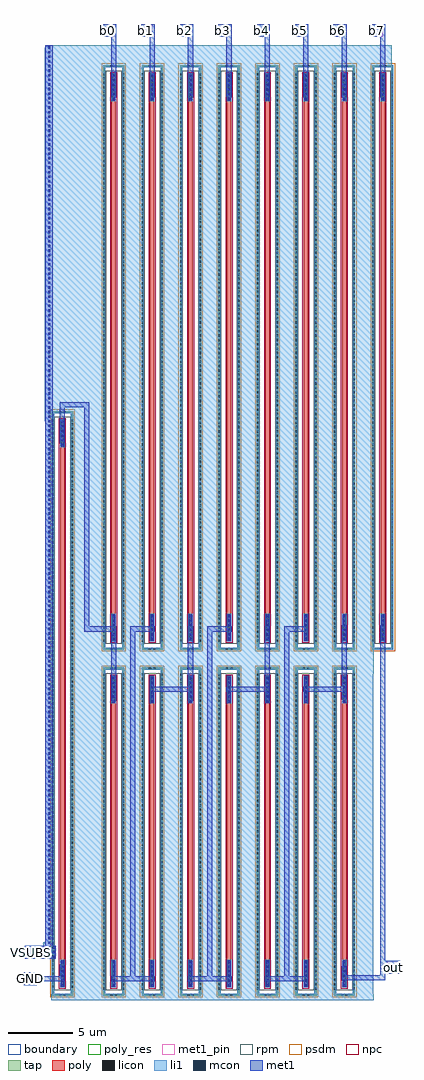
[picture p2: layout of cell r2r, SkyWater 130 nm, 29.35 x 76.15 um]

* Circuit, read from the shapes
.subckt r2r GND VSUBS b0 b1 b2 b3 b4 b5 b6 b7 out
XR1 n1 GND VSUBS sky130_fd_pr__res_high_po w=0.35 l=40.04
XR2 n1 n2 VSUBS sky130_fd_pr__res_high_po w=0.35 l=20.04
XR3 b0 n1 VSUBS sky130_fd_pr__res_high_po w=0.35 l=40.04
XR4 n3 n2 VSUBS sky130_fd_pr__res_high_po w=0.35 l=20.04
XR5 b1 n2 VSUBS sky130_fd_pr__res_high_po w=0.35 l=40.04
XR6 n3 n4 VSUBS sky130_fd_pr__res_high_po w=0.35 l=20.04
XR7 b2 n3 VSUBS sky130_fd_pr__res_high_po w=0.35 l=40.04
XR8 n5 n4 VSUBS sky130_fd_pr__res_high_po w=0.35 l=20.04
XR9 b3 n4 VSUBS sky130_fd_pr__res_high_po w=0.35 l=40.04
XR10 n5 n6 VSUBS sky130_fd_pr__res_high_po w=0.35 l=20.04
XR11 b4 n5 VSUBS sky130_fd_pr__res_high_po w=0.35 l=40.04
XR12 n7 n6 VSUBS sky130_fd_pr__res_high_po w=0.35 l=20.04
XR13 b5 n6 VSUBS sky130_fd_pr__res_high_po w=0.35 l=40.04
XR14 n7 out VSUBS sky130_fd_pr__res_high_po w=0.35 l=20.04
XR15 b6 n7 VSUBS sky130_fd_pr__res_high_po w=0.35 l=40.04
XR16 b7 out VSUBS sky130_fd_pr__res_high_po w=0.35 l=40.04
.ends

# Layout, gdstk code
import gdstk
lib = gdstk.Library(unit=1e-6, precision=1e-09)
def R(c, l, rs):  # rectangles x0, y0, x1, y1
    for r in rs: c.add(gdstk.rectangle(r[:2], r[2:], *l))
def A(c, l, x, y, w, h, nx, ny, dx, dy):  # array of equal rectangles
    R(c, l, [(x+i*dx, y+j*dy, x+i*dx+w, y+j*dy+h) for i in range(nx) for j in range(ny)])
tap = (65, 44)
poly_res = (66, 13)
poly = (66, 20)
licon = (66, 44)
li1 = (67, 20)
mcon = (67, 44)
met1_pin = (68, 16)
met1 = (68, 20)
rpm = (86, 20)
psdm = (94, 20)
npc = (95, 20)
boundary = (235, 4)

sky130_fd_pr__res_high_p = lib.new_cell('sky130_fd_pr__res_high_po_0p35_3KK54B')
R(sky130_fd_pr__res_high_p, tap, [(-0.825,-22.81,0.825,-22.64), (-0.825,-22.64,-0.655,22.64), (0.655,-22.64,0.825,22.64), (-0.825,22.64,0.825,22.81)])
R(sky130_fd_pr__res_high_p, poly_res, [(-0.175,-20.08,0.175,20.08)])
R(sky130_fd_pr__res_high_p, poly, [(-0.175,-22.16,0.175,22.16)])
A(sky130_fd_pr__res_high_p, licon, -0.825, -22.185, 0.17, 0.17, 1, 131, 0, 0.34)
A(sky130_fd_pr__res_high_p, licon, 0.655, -22.185, 0.17, 0.17, 1, 131, 0, 0.34)
R(sky130_fd_pr__res_high_p, licon, [(-0.255,-22.81,-0.085,-22.64), (0.085,-22.81,0.255,-22.64), (-0.095,-22.08,0.095,-20.08), (-0.095,20.08,0.095,22.08), (-0.255,22.64,-0.085,22.81), (0.085,22.64,0.255,22.81)])
R(sky130_fd_pr__res_high_p, li1, [(-0.825,-22.81,0.825,-22.64), (-0.825,-22.64,-0.655,22.64), (0.655,-22.64,0.825,22.64), (-0.175,-22.16,0.175,-20), (-0.175,20,0.175,22.16), (-0.825,22.64,0.825,22.81)])
A(sky130_fd_pr__res_high_p, mcon, -0.085, -22.065, 0.17, 0.17, 1, 6, 0, 0.36)
A(sky130_fd_pr__res_high_p, mcon, -0.085, 20.09, 0.17, 0.17, 1, 6, 0, 0.36)
R(sky130_fd_pr__res_high_p, met1, [(-0.125,-22.13,0.125,-20.025), (-0.125,20.025,0.125,22.13)])
R(sky130_fd_pr__res_high_p, rpm, [(-0.635,-22.36,0.635,22.36)])
R(sky130_fd_pr__res_high_p, psdm, [(-0.95,-22.935,0.95,22.935)])
R(sky130_fd_pr__res_high_p, npc, [(-0.27,-22.255,0.27,22.255)])
R(sky130_fd_pr__res_high_p, boundary, [(-0.74,-22.725,0.74,22.725)])

c_sky130_fd_pr__res_high_p = lib.new_cell('sky130_fd_pr__res_high_po_0p35_QPS5FG')
R(c_sky130_fd_pr__res_high_p, tap, [(-0.825,-12.81,0.825,-12.64), (-0.825,-12.64,-0.655,12.64), (0.655,-12.64,0.825,12.64), (-0.825,12.64,0.825,12.81)])
R(c_sky130_fd_pr__res_high_p, poly_res, [(-0.175,-10.08,0.175,10.08)])
R(c_sky130_fd_pr__res_high_p, poly, [(-0.175,-12.16,0.175,12.16)])
A(c_sky130_fd_pr__res_high_p, licon, -0.825, -12.325, 0.17, 0.17, 1, 73, 0, 0.34)
A(c_sky130_fd_pr__res_high_p, licon, 0.655, -12.325, 0.17, 0.17, 1, 73, 0, 0.34)
R(c_sky130_fd_pr__res_high_p, licon, [(-0.255,-12.81,-0.085,-12.64), (0.085,-12.81,0.255,-12.64), (-0.095,-12.08,0.095,-10.08), (-0.095,10.08,0.095,12.08), (-0.255,12.64,-0.085,12.81), (0.085,12.64,0.255,12.81)])
R(c_sky130_fd_pr__res_high_p, li1, [(-0.825,-12.81,0.825,-12.64), (-0.825,-12.64,-0.655,12.64), (0.655,-12.64,0.825,12.64), (-0.175,-12.16,0.175,-10), (-0.175,10,0.175,12.16), (-0.825,12.64,0.825,12.81)])
A(c_sky130_fd_pr__res_high_p, mcon, -0.085, -12.065, 0.17, 0.17, 1, 6, 0, 0.36)
A(c_sky130_fd_pr__res_high_p, mcon, -0.085, 10.09, 0.17, 0.17, 1, 6, 0, 0.36)
R(c_sky130_fd_pr__res_high_p, met1, [(-0.125,-12.13,0.125,-10.025), (-0.125,10.025,0.125,12.13)])
R(c_sky130_fd_pr__res_high_p, rpm, [(-0.635,-12.36,0.635,12.36)])
R(c_sky130_fd_pr__res_high_p, psdm, [(-0.95,-12.935,0.95,12.935)])
R(c_sky130_fd_pr__res_high_p, npc, [(-0.27,-12.255,0.27,12.255)])
R(c_sky130_fd_pr__res_high_p, boundary, [(-0.74,-12.725,0.74,12.725)])

r2r = lib.new_cell('r2r')
A(r2r, li1, -4.25, 12.3, 1.6, 25.35, 3, 1, 2.95, 0)
A(r2r, li1, 4.75, 12.3, 1.55, 25.35, 3, 1, 3, 0)
A(r2r, li1, -4.25, 39.3, 1.55, 45.4, 5, 1, 3, 0)
R(r2r, li1, [(-9.85,11.85,15.3,12.3), (-8.25,12.3,-5.7,34.175), (13.79,12.3,15.265,37.3), (-10.51,15.11,-9.57,15.8), (-10.5,15.8,-9.57,16.05), (-10.5,16.05,-9.75,16.35), (-10.35,16.35,-9.75,57.045), (-8.25,34.175,-5.695,37.65), (13.75,37.3,15.3,37.65), (-8.25,37.65,15.3,39.3), (-8.25,39.3,-5.695,57.8), (10.7,39.3,12.25,84.7), (13.75,39.3,15.3,84.7), (-10.355,57.045,-9.74,57.8), (-10.355,57.8,-5.695,84.7), (-10.355,84.7,16.7,86.155), (-10.35,86.155,16.7,86.35)])
A(r2r, mcon, -10.485, 15.135, 0.17, 0.17, 3, 3, 0.36, 0.36)
A(r2r, mcon, -10.11, 16.24, 0.17, 0.17, 1, 195, 0, 0.36)
A(r2r, met1_pin, -6, 87, 1, 1, 8, 1, 3, 0)
R(r2r, met1_pin, [(-12,13,-11,14), (16.35,13.9,17.35,14.9), (-11.93,15.08,-10.93,16.08)])
A(r2r, met1, -5.2, 13.3, 3.4, 0.4, 3, 1, 6, 0)
A(r2r, met1, -3.7, 13.7, 0.4, 26.9, 3, 1, 6, 0)
A(r2r, met1, -2.2, 35.9, 3.4, 0.4, 3, 1, 6, 0)
A(r2r, met1, -3.7, 40.6, 1.9, 0.4, 3, 1, 6, 0)
A(r2r, met1, -5.2, 82.3, 0.4, 4.7, 8, 1, 3, 0)
A(r2r, met1, -6, 87, 1.2, 1, 8, 1, 3, 0)
R(r2r, met1, [(-12,13,-11,13.3), (-12,13.3,-8.8,13.7), (12.8,13.4,16.2,13.8), (-12,13.7,-11,14), (-9.2,13.7,-8.8,14.6), (12.8,13.8,13.2,14.5), (15.8,13.8,16.2,13.9), (15.8,13.9,17.35,14.9), (15.8,14.9,16.2,41.1), (-11.93,15.08,-9.51,16.08), (-10.35,16.08,-9.75,86.35), (-5.2,35.2,-4.8,40.6), (0.8,35.2,1.2,35.9), (6.8,35.2,7.2,35.9), (12.8,35.3,13.2,35.9), (0.8,36.3,1.2,41), (6.8,36.3,7.2,41), (12.8,36.3,13.2,41.1), (-7.3,40.6,-4.8,41), (-7.3,41,-6.9,58.1), (-9.2,55.3,-8.8,58.1), (-9.2,58.1,-6.9,58.5)])
r2r.add(gdstk.Reference(sky130_fd_pr__res_high_p, (-8.995,34.99)))
r2r.add(gdstk.Reference(c_sky130_fd_pr__res_high_p, (13.005,24.99)))
r2r.add(gdstk.Reference(c_sky130_fd_pr__res_high_p, (10.005,24.99)))
r2r.add(gdstk.Reference(c_sky130_fd_pr__res_high_p, (7.005,24.99)))
r2r.add(gdstk.Reference(c_sky130_fd_pr__res_high_p, (4.005,24.99)))
r2r.add(gdstk.Reference(c_sky130_fd_pr__res_high_p, (1.005,24.99)))
r2r.add(gdstk.Reference(c_sky130_fd_pr__res_high_p, (-1.995,24.99)))
r2r.add(gdstk.Reference(c_sky130_fd_pr__res_high_p, (-4.995,24.99)))
r2r.add(gdstk.Reference(sky130_fd_pr__res_high_p, (16.005,61.99)))
r2r.add(gdstk.Reference(sky130_fd_pr__res_high_p, (13.005,61.99)))
r2r.add(gdstk.Reference(sky130_fd_pr__res_high_p, (10.005,61.99)))
r2r.add(gdstk.Reference(sky130_fd_pr__res_high_p, (7.005,61.99)))
r2r.add(gdstk.Reference(sky130_fd_pr__res_high_p, (4.005,61.99)))
r2r.add(gdstk.Reference(sky130_fd_pr__res_high_p, (1.005,61.99)))
r2r.add(gdstk.Reference(sky130_fd_pr__res_high_p, (-1.995,61.99)))
r2r.add(gdstk.Reference(sky130_fd_pr__res_high_p, (-4.995,61.99)))
r2r.add(gdstk.Label('b0', (-5.5,87.5), layer=68, texttype=5))
r2r.add(gdstk.Label('b1', (-2.5,87.5), layer=68, texttype=5))
r2r.add(gdstk.Label('b2', (0.5,87.5), layer=68, texttype=5))
r2r.add(gdstk.Label('b3', (3.5,87.5), layer=68, texttype=5))
r2r.add(gdstk.Label('b4', (6.5,87.5), layer=68, texttype=5))
r2r.add(gdstk.Label('b5', (9.5,87.5), layer=68, texttype=5))
r2r.add(gdstk.Label('b6', (12.5,87.5), layer=68, texttype=5))
r2r.add(gdstk.Label('b7', (15.5,87.5), layer=68, texttype=5))
r2r.add(gdstk.Label('out', (16.85,14.4), layer=68, texttype=5))
r2r.add(gdstk.Label('VSUBS', (-11.43,15.58), layer=68, texttype=5))
r2r.add(gdstk.Label('GND', (-11.5,13.5), layer=68, texttype=5))

lib.write_gds('r2r.gds')
